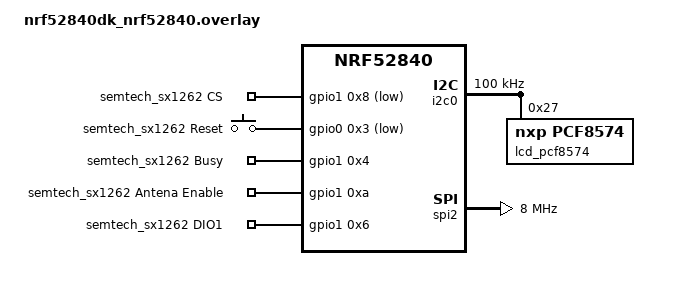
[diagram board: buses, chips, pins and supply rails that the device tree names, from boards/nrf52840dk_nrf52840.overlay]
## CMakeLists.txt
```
#
# Copyright (c) 2022 Nordic Semiconductor ASA
#
# SPDX-License-Identifier: LicenseRef-Nordic-5-Clause
#

cmake_minimum_required(VERSION 3.20.0)

include($ENV{ZEPHYR_BASE}/../sidewalk/samples/common/bootloader_version.cmake)

set(mcuboot_KCONFIG_ROOT $ENV{ZEPHYR_BASE}/../sidewalk/samples/template_subghz/child_image/mcuboot/Kconfig.root)

find_package(Zephyr REQUIRED HINTS $ENV{ZEPHYR_BASE})
project(sidewalk_template_subghz)

zephyr_include_directories(include)

target_sources(app PRIVATE
  src/main.c
  src/lcd.c
  src/application_thread.c
  src/board_events.c
  src/sidewalk_callbacks.c
)
```

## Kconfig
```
#
# Copyright (c) 2022 Nordic Semiconductor ASA
#
# SPDX-License-Identifier: LicenseRef-Nordic-5-Clause
#

rsource "${ZEPHYR_BASE}/../sidewalk/samples/common/Kconfig.defconfig"

source "Kconfig.zephyr"
```

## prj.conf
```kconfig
#
# Copyright (c) 2022 Nordic Semiconductor ASA
#
# SPDX-License-Identifier: LicenseRef-Nordic-5-Clause
#

# LCD1602
CONFIG_I2C=y

# Sidewalk
CONFIG_SIDEWALK=y
CONFIG_SIDEWALK_LINK_MASK_LORA=y

# Logs
CONFIG_SIDEWALK_LOG_LEVEL_INF=y
CONFIG_NVS_LOG_LEVEL_WRN=y
CONFIG_LOG_PRINTK=y

# Buttons and LEDs
CONFIG_GPIO=y
CONFIG_DK_LIBRARY=y

# Bluetooth
CONFIG_BT_DEVICE_NAME="Sid template"

# Debug
CONFIG_RESET_ON_FATAL_ERROR=n
```

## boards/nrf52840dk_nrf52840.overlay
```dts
/*
 * Copyright (c) 2022 Nordic Semiconductor ASA
 *
 * SPDX-License-Identifier: LicenseRef-Nordic-5-Clause
 */

&i2c0 {
    status = "okay";
    clock-frequency = <I2C_BITRATE_STANDARD>;
    lcd_pcf8574: pcf8574@27 {
        compatible = "nxp,pcf8574";
        reg = <0x27>;
        gpio-controller;
        #gpio-cells = <2>;
        ngpios = <8>;
    };

};

&spi3 {
	status = "disabled";
};

sid_semtech: &spi2 {
	compatible = "nordic,nrf-spim";
	status = "okay";
	pinctrl-0 = <&spi2_default>;
	pinctrl-1 = <&spi2_sleep>;
	pinctrl-names = "default", "sleep";
	clock-frequency = <DT_FREQ_M(8)>;
};

&spi2_default {
	group1 {
		psels = <NRF_PSEL(SPIM_SCK, 1, 15)>,
			<NRF_PSEL(SPIM_MISO, 1, 14)>,
			<NRF_PSEL(SPIM_MOSI, 1, 13)>;
	};
};

&spi2_sleep {
	group1 {
		psels = <NRF_PSEL(SPIM_SCK, 1, 15)>,
			<NRF_PSEL(SPIM_MISO, 1, 14)>,
			<NRF_PSEL(SPIM_MOSI, 1, 13)>;
		low-power-enable;
	};
};

/ {
	semtech_sx1262_gpios{
 		compatible = "gpio-keys";
		semtech_sx1262_cs: cs {
			gpios = <&gpio1 0x8 GPIO_ACTIVE_LOW>;
			label = "semtech_sx1262 CS";
		};
 		semtech_sx1262_reset_gpios: reset {
			gpios = <&gpio0 0x3 GPIO_ACTIVE_LOW>;
			label = "semtech_sx1262 Reset";
		};
		semtech_sx1262_busy_gpios: busy {
			gpios = <&gpio1 0x4 GPIO_ACTIVE_HIGH>;
			label = "semtech_sx1262 Busy";
		};
		semtech_sx1262_antenna_enable_gpios: antena_enable {
			gpios = <&gpio1 0xa GPIO_ACTIVE_HIGH>;
			label = "semtech_sx1262 Antena Enable";
		};
		semtech_sx1262_dio1_gpios: dio1 {
			gpios = <&gpio1 0x6 GPIO_ACTIVE_HIGH>;
			label = "semtech_sx1262 DIO1";
		};
 	};

	chosen {
		nordic,pm-ext-flash = &mx25r64;
	};
};
```

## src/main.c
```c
/*
 * Copyright (c) 2023 Nordic Semiconductor ASA
 *
 * SPDX-License-Identifier: LicenseRef-Nordic-5-Clause
 */

#include <sid_api.h>
#include <sid_error.h>
#include <sid_pal_assert_ifc.h>
#include <app_ble_config.h>
#include <app_subGHz_config.h>

#include <stdbool.h>
#include <zephyr/kernel.h>
#include <zephyr/logging/log.h>
#include <dk_buttons_and_leds.h>
#include <sidewalk_version.h>
#if defined(CONFIG_BOOTLOADER_MCUBOOT)
#include <zephyr/dfu/mcuboot.h>
#endif
#if defined(CONFIG_SIDEWALK_DFU_SERVICE_USB)
#include <zephyr/usb/usb_device.h>
#endif
#if defined(CONFIG_GPIO)
#include <state_notifier_gpio_backend.h>
#endif
#if defined(CONFIG_LOG)
#include <state_notifier_log_backend.h>
#endif

#include <pal_init.h>
#include <buttons.h>
#include <lcd.h>
#include <application_thread.h>
#include <sidewalk_callbacks.h>

LOG_MODULE_REGISTER(main, CONFIG_SIDEWALK_LOG_LEVEL);

static app_ctx_t app_context;

static void button_handler(uint32_t event)
{
	app_event_send((app_event_t) event);
}

static sid_error_t app_buttons_init(btn_handler_t handler)
{
    button_set_action_short_press(DK_BTN1, handler, BUTTON_EVENT_FSK_MODE);
	button_set_action_long_press(DK_BTN1, handler, BUTTON_EVENT_FACTORY_RESET);
	button_set_action_short_press(DK_BTN2, handler, BUTTON_EVENT_GET_DEVICE_PROFILE);
	button_set_action_long_press(DK_BTN2, handler, BUTTON_EVENT_SET_DEVICE_PROFILE);
	button_set_action_short_press(DK_BTN3, handler, BUTTON_EVENT_SEND_HELLO);
    button_set_action_short_press(DK_BTN4, handler, BUTTON_EVENT_LORA_MODE);
	#if defined(CONFIG_SIDEWALK_DFU)
	button_set_action_long_press(DK_BTN4, handler, BUTTON_EVENT_NORDIC_DFU);
	#endif

	return buttons_init() ? SID_ERROR_GENERIC : SID_ERROR_NONE;
}

static void app_setup(void)
{
	if (app_buttons_init(button_handler)) {
		LOG_ERR("Failed to initialze buttons.");
		SID_PAL_ASSERT(false);
	}

	if (dk_leds_init()) {
		LOG_ERR("Failed to initialze LEDs.");
		SID_PAL_ASSERT(false);
	}
    if (lcd_init()) {
		LOG_ERR("Failed to initialze LCD.");
		SID_PAL_ASSERT(false);
    }
	#if defined(CONFIG_GPIO)
	state_watch_init_gpio(&global_state_notifier);
	#endif
	#if defined(CONFIG_LOG)
	state_watch_init_log(&global_state_notifier);
	#endif

	#if defined(CONFIG_SIDEWALK_DFU_SERVICE_USB)
	if (usb_enable(NULL)) {
		LOG_ERR("Failed to enable USB");
		return;
	}
	#endif

	if (sidewalk_callbacks_set(&app_context, &app_context.event_callbacks)) {
		LOG_ERR("Failed to set sidewalk callbacks");
		SID_PAL_ASSERT(false);
	}

	app_context.config = (struct sid_config) {
		.link_mask = BUILT_IN_LM,
		.time_sync_periodicity_seconds = 7200,
		.callbacks = &app_context.event_callbacks,
		.link_config = app_get_ble_config(),
		.sub_ghz_link_config = app_get_sub_ghz_config(),
	};

	#if defined(CONFIG_BOOTLOADER_MCUBOOT)
	if (!boot_is_img_confirmed()) {
		int ret = boot_write_img_confirmed();

		if (ret) {
			LOG_ERR("Couldn't confirm image: %d", ret);
		} else {
			LOG_INF("Marked image as OK");
		}
	}
	#endif

       lcd_display_string("reset           ", 1, 0);
}

void main()
{
	PRINT_SIDEWALK_VERSION();

	app_setup();
	if (app_thread_init(&app_context)) {
		LOG_ERR("Failed to start Sidewalk thread");
	}
}
```

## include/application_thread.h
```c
/*
 * Copyright (c) 2023 Nordic Semiconductor ASA
 *
 * SPDX-License-Identifier: LicenseRef-Nordic-5-Clause
 */

#ifndef APPLICATION_THREAD_H
#define APPLICATION_THREAD_H

#include <sid_api.h>

#ifdef CONFIG_SIDEWALK_LINK_MASK_BLE
#define BUILT_IN_LM             (uint32_t)(SID_LINK_TYPE_1)
#elif  CONFIG_SIDEWALK_LINK_MASK_FSK
#define BUILT_IN_LM             (uint32_t)(SID_LINK_TYPE_2)
#elif CONFIG_SIDEWALK_LINK_MASK_LORA
#define BUILT_IN_LM             (uint32_t)(SID_LINK_TYPE_3)
#else
#error "Not defined Sidewalk link mask!!"
#endif

typedef struct application_context {
	struct sid_event_callbacks event_callbacks;
	struct sid_config config;
	struct sid_handle *handle;
	bool connection_request;
} app_ctx_t;

typedef enum application_events {
	SIDEWALK_EVENT,

	BUTTON_EVENT_SEND_HELLO,
	BUTTON_EVENT_SET_BATTERY_LEVEL,
	BUTTON_EVENT_FACTORY_RESET,
    BUTTON_EVENT_FSK_MODE,
    BUTTON_EVENT_LORA_MODE,
	BUTTON_EVENT_GET_DEVICE_PROFILE,
	BUTTON_EVENT_SET_DEVICE_PROFILE,
	#if  defined(CONFIG_SIDEWALK_DFU)
	BUTTON_EVENT_NORDIC_DFU,
	#endif
    EVENT_TO_FSK,
    EVENT_TO_LORA,
} app_event_t;

/**
 * @brief Send Event to application thread
 *
 * @param event event to send
 */
void app_event_send(app_event_t event);

/**
 * @brief Initialize and start application thread
 *
 * @param ctx application context
 *
 * @return SID_ERROR_NULL_POINTER in case of invalid ctx
 */
sid_error_t app_thread_init(app_ctx_t *ctx);

#endif /* APPLICATION_THREAD_H */
```

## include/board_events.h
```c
/*
 * Copyright (c) 2023 Nordic Semiconductor ASA
 *
 * SPDX-License-Identifier: LicenseRef-Nordic-5-Clause
 */

#ifndef BOARD_EVENTS_H
#define BOARD_EVENTS_H

#include <application_thread.h>

/**
 * @brief Application handler for sending hello message
 *
 * @param application_ctx
 */
void button_event_send_hello(app_ctx_t *application_ctx);

/**
 * @brief Application handler for sending battery level
 *
 * @param application_ctx
 */
void button_event_set_battery(app_ctx_t *application_ctx);

/**
 * @brief Application handler for entering in DFU mode
 *
 * @param application_ctx
 */
void button_event_DFU(app_ctx_t *application_ctx);

/**
 * @brief Applicaiton handler for requesting factory reset
 *
 * @param application_ctx
 */
void button_event_factory_reset(app_ctx_t *application_ctx);

/**
 * @brief Application handler for reading profile
 *
 * @param application_ctx
 */
void button_event_get_profile(app_ctx_t *application_ctx);

/**
 * @brief Application handler for setting profile
 *
 * @param application_ctx
 */
void button_event_set_ptofile(app_ctx_t *application_ctx);

void button_event_fsk_mode(app_ctx_t *application_ctx);
void button_event_lora_mode(app_ctx_t *application_ctx);

#endif /* BOARD_EVENTS_H */
```

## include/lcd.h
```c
int lcd_init(void);
void lcd_display_string(const char* str, uint8_t line, uint8_t pos);
```

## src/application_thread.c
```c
/*
 * Copyright (c) 2023 Nordic Semiconductor ASA
 *
 * SPDX-License-Identifier: LicenseRef-Nordic-5-Clause
 */
#include <sid_api.h>
#include <sid_error.h>

#include <zephyr/kernel.h>
#include <zephyr/logging/log.h>

#include <board_events.h>
#include <pal_init.h>
#if defined(CONFIG_SIDEWALK_CLI)
#include <sid_shell.h>
#endif

#include <application_thread.h>
#include <state_notifier.h>

static struct k_thread application_thread;

K_THREAD_STACK_DEFINE(application_thread_stack, CONFIG_SIDEWALK_THREAD_STACK_SIZE);
K_MSGQ_DEFINE(application_thread_msgq, sizeof(app_event_t), CONFIG_SIDEWALK_THREAD_QUEUE_SIZE, 4);

LOG_MODULE_REGISTER(application, CONFIG_SIDEWALK_LOG_LEVEL);

static int app_start_sid(app_ctx_t *app_ctx)
{
    sid_error_t err = sid_start(app_ctx->handle, app_ctx->config.link_mask);
    if (err) {
        LOG_ERR("Unknown error during sidewalk start! %d", err);
        application_state_error(&global_state_notifier, true);
        return -1;
    }

    return 0;
}

static int app_init_sid(app_ctx_t *app_ctx)
{
    sid_error_t err = sid_init(&app_ctx->config, &app_ctx->handle);

    switch (err) {
    case SID_ERROR_NONE: break;
    case SID_ERROR_ALREADY_INITIALIZED: LOG_WRN("Sidewalk already initialized!"); break;
    default: LOG_ERR("Unknown error during sidewalk initialization!");
        application_state_error(&global_state_notifier, true);
        return -1;
    }
    return 0;
}

static void sidewalk_app_entry(void *ctx, void *unused, void *unused2)
{
	ARG_UNUSED(unused);
	ARG_UNUSED(unused2);
	app_ctx_t *application_ctx = (app_ctx_t *)ctx;

	if (application_pal_init()) {
		LOG_ERR("Failed to initialze PAL layer for sidewalk applicaiton.");
		application_state_error(&global_state_notifier, true);
		return;
	}

	sid_error_t err = sid_init(&application_ctx->config, &application_ctx->handle);

	switch (err) {
	case SID_ERROR_NONE: break;
	case SID_ERROR_ALREADY_INITIALIZED: LOG_WRN("Sidewalk already initialized!"); break;
	default: LOG_ERR("Unknown error during sidewalk initialization!");
		application_state_error(&global_state_notifier, true);
		return;
	}

	err = sid_start(application_ctx->handle, BUILT_IN_LM);
	if (err) {
		LOG_ERR("Unknown error during sidewalk start!");
		application_state_error(&global_state_notifier, true);
		return;
	}
#if defined(CONFIG_SIDEWALK_CLI)
	CLI_init(application_ctx->handle);
#endif
	application_state_connected(&global_state_notifier, false);
	application_state_working(&global_state_notifier, true);
	while (true) {
		app_event_t event = SIDEWALK_EVENT;

		if (!k_msgq_get(&application_thread_msgq, &event, K_FOREVER)) {
			switch (event) {
			case SIDEWALK_EVENT: err = sid_process(application_ctx->handle); if (err) {
					LOG_WRN("sid_process returned %d", err);
			}
				break;
			case BUTTON_EVENT_SEND_HELLO: button_event_send_hello(application_ctx); break;
			case BUTTON_EVENT_SET_BATTERY_LEVEL: button_event_set_battery(application_ctx); break;
            case BUTTON_EVENT_FSK_MODE: button_event_fsk_mode(application_ctx); break;
            case BUTTON_EVENT_LORA_MODE: button_event_lora_mode(application_ctx); break;
			case BUTTON_EVENT_FACTORY_RESET: button_event_factory_reset(application_ctx); break;
			case BUTTON_EVENT_GET_DEVICE_PROFILE: button_event_get_profile(application_ctx); break;
			case BUTTON_EVENT_SET_DEVICE_PROFILE: button_event_set_ptofile(application_ctx); break;

			#if defined(CONFIG_SIDEWALK_DFU)
			case BUTTON_EVENT_NORDIC_DFU: button_event_DFU(application_ctx); break;
			#endif
            case EVENT_TO_FSK:
                LOG_INF("EVENT_TO_FSK");
                application_ctx->config.link_mask = SID_LINK_TYPE_2;
                if (app_init_sid(application_ctx) == 0) {
                    app_start_sid(application_ctx);
                }
                break;
            case EVENT_TO_LORA:
                LOG_INF("EVENT_TO_LORA");
                application_ctx->config.link_mask = SID_LINK_TYPE_3;
                if (app_init_sid(application_ctx) == 0) {
                    app_start_sid(application_ctx);
                }
                break;
			default:
				LOG_ERR("Invalid Event received!");
			}
		}
	}
	application_state_working(&global_state_notifier, false);
}

void app_event_send(app_event_t event)
{
	int ret = k_msgq_put(&application_thread_msgq, (void *)&event, k_is_in_isr() ? K_NO_WAIT : K_FOREVER);

	if (ret) {
		LOG_ERR("Failed to send event to application thread. err: %d", ret);
	}
}

sid_error_t app_thread_init(app_ctx_t *ctx)
{
	if (!ctx) {
		return SID_ERROR_NULL_POINTER;
	}
	(void)k_thread_create(&application_thread, application_thread_stack,
			      K_THREAD_STACK_SIZEOF(application_thread_stack),
			      sidewalk_app_entry, ctx, NULL, NULL,
			      CONFIG_SIDEWALK_THREAD_PRIORITY, 0, K_NO_WAIT);
	k_thread_name_set(&application_thread, "sidewalk_thread");
	return SID_ERROR_NONE;
}
```

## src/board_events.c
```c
/*
 * Copyright (c) 2023 Nordic Semiconductor ASA
 *
 * SPDX-License-Identifier: LicenseRef-Nordic-5-Clause
 */

#include <sid_api.h>
#include <sid_error.h>
#include <sid_900_cfg.h>

#include <state_notifier.h>
#include <board_events.h>

#if defined(CONFIG_SIDEWALK_DFU)
#include <nordic_dfu.h>
#endif

#include <lcd.h>
#include <zephyr/logging/log.h>

LOG_MODULE_REGISTER(board_events, CONFIG_SIDEWALK_LOG_LEVEL);

#if defined(CONFIG_SIDEWALK_LINK_MASK_FSK)
static struct sid_device_profile profile_light = {
	.unicast_params.device_profile_id = SID_LINK2_PROFILE_1,
	.unicast_params.rx_window_count = SID_RX_WINDOW_CNT_INFINITE,
	.unicast_params.unicast_window_interval.sync_rx_interval_ms = SID_LINK2_RX_WINDOW_SEPARATION_3,
	.unicast_params.wakeup_type = SID_TX_AND_RX_WAKEUP,
};

static struct sid_device_profile profile_fast = {
	.unicast_params.device_profile_id = SID_LINK2_PROFILE_2,
	.unicast_params.rx_window_count = SID_RX_WINDOW_CNT_INFINITE,
	.unicast_params.unicast_window_interval.sync_rx_interval_ms = SID_LINK2_RX_WINDOW_SEPARATION_3,
	.unicast_params.wakeup_type = SID_TX_AND_RX_WAKEUP,
};

static struct sid_device_profile profile_from_dev = {
	.unicast_params.device_profile_id = SID_LINK2_PROFILE_1
};
#elif defined(CONFIG_SIDEWALK_LINK_MASK_LORA)
static struct sid_device_profile profile_light = {
	.unicast_params.device_profile_id = SID_LINK3_PROFILE_A,
	.unicast_params.rx_window_count =  SID_RX_WINDOW_CNT_2,
	.unicast_params.unicast_window_interval.async_rx_interval_ms = SID_LINK3_RX_WINDOW_SEPARATION_3,
	.unicast_params.wakeup_type = SID_TX_AND_RX_WAKEUP,
};

static struct sid_device_profile profile_fast = {
	.unicast_params.device_profile_id = SID_LINK3_PROFILE_B,
	.unicast_params.rx_window_count = SID_RX_WINDOW_CNT_INFINITE,
	.unicast_params.unicast_window_interval.async_rx_interval_ms = SID_LINK3_RX_WINDOW_SEPARATION_3,
	.unicast_params.wakeup_type = SID_TX_AND_RX_WAKEUP,
};

static struct sid_device_profile profile_from_dev = {
	.unicast_params.device_profile_id = SID_LINK3_PROFILE_A
};
#endif

void button_event_send_hello(app_ctx_t *application_ctx)
{
	struct sid_status status = { .state = SID_STATE_NOT_READY };
	sid_error_t err;

	static uint8_t counter = 0;
	static struct sid_msg msg;
	static struct sid_msg_desc desc;

	err = sid_get_status(application_ctx->handle, &status);
	switch (err) {
	case SID_ERROR_NONE: break;
	case SID_ERROR_INVALID_ARGS: LOG_ERR("Sidewalk library is not initialzied!"); return;
	default: LOG_ERR("Unknown error during sid_get_status() -> %d", err);
		return;
	}

	if (status.state != SID_STATE_READY && status.state != SID_STATE_SECURE_CHANNEL_READY) {
		LOG_ERR(
			"Sidewalk Status is invalid!, expected SID_STATE_READY or SID_STATE_SECURE_CHANNEL_READY, got %d",
			status.state);
		return;
	}

	msg = (struct sid_msg){ .data = (uint8_t *)&counter, .size = sizeof(uint8_t) };
	desc = (struct sid_msg_desc){
		.type = SID_MSG_TYPE_NOTIFY,
		.link_type = SID_LINK_TYPE_ANY,
		.link_mode = SID_LINK_MODE_CLOUD,
	};

    desc.msg_desc_attr.tx_attr.request_ack = 1;
    desc.msg_desc_attr.tx_attr.num_retries = 1;
    desc.msg_desc_attr.tx_attr.ttl_in_seconds = 30;

	err = sid_put_msg(application_ctx->handle, &msg, &desc);
	switch (err) {
	case SID_ERROR_NONE: {
		application_state_sending(&global_state_notifier, true);
		counter++;
		LOG_INF("queued data message id:%d", desc.id);
        lcd_display_string("    sending     ", 1, 0);
		break;
	}
	case SID_ERROR_TRY_AGAIN: {
		LOG_ERR("there is no space in the transmit queue, Try again.");
		break;
	}
	default: LOG_ERR("Unknown error returned from sid_put_msg() -> %d", err);
	}
}

void button_event_set_battery(app_ctx_t *application_ctx)
{
	static uint8_t fake_bat_lev = 70;

	++fake_bat_lev;
	if (fake_bat_lev > 100) {
		fake_bat_lev = 0;
	}
	sid_error_t ret = sid_option(application_ctx->handle, SID_OPTION_BLE_BATTERY_LEVEL,
				     &fake_bat_lev, sizeof(fake_bat_lev));

	if (SID_ERROR_NONE != ret) {
		LOG_ERR("failed setting Sidewalk option!");
	} else {
		LOG_DBG("set battery level to %d", fake_bat_lev);
	}
}

#if defined(CONFIG_SIDEWALK_DFU)
void button_event_DFU(app_ctx_t *application_ctx)
{
	sid_error_t err = sid_deinit(application_ctx->handle);

	if (err != SID_ERROR_NONE) {
		LOG_ERR("Failed to deinitialize sidewalk! sid_deinit returned %d", err);
		return;
	}

	application_ctx->handle = NULL;

	int ret = nordic_dfu_ble_start();

	if (ret) {
		LOG_ERR("DFU SMP start error (code %d)", ret);
	}
	application_state_dfu(&global_state_notifier, true);
}

#endif

void button_event_lora_mode(app_ctx_t *application_ctx)
{
    if (application_ctx->config.link_mask == SID_LINK_TYPE_3) {
        LOG_INF("already in LoRa");
        return;
    }

    sid_error_t err = sid_deinit(application_ctx->handle);

    if (err != SID_ERROR_NONE) {
        LOG_ERR("Failed to deinitialize sidewalk! sid_deinit returned %d", err);
    } else {
        LOG_INF("to_lora sid_deinit ok");
        app_event_send(EVENT_TO_LORA);
    }
}

void button_event_fsk_mode(app_ctx_t *application_ctx)
{
    if (application_ctx->config.link_mask == SID_LINK_TYPE_2) {
        LOG_INF("already in FSK");
        return;
    }

    sid_error_t err = sid_deinit(application_ctx->handle);

    if (err != SID_ERROR_NONE) {
        LOG_ERR("Failed to deinitialize sidewalk! sid_deinit returned %d", err);
    } else {
        LOG_INF("to_fsk sid_deinit ok");
        app_event_send(EVENT_TO_FSK);
    }
}

void button_event_factory_reset(app_ctx_t *application_ctx)
{
	sid_error_t ret = sid_set_factory_reset(application_ctx->handle);

	if (SID_ERROR_NONE != ret) {
		LOG_ERR("Notification of factory reset to sid api failed!");
	} else {
		LOG_DBG("Wait for Sid api to notify to proceed with factory reset!");
	}
}

void button_event_get_profile(app_ctx_t *application_ctx)
{
	sid_error_t ret = sid_option(application_ctx->handle, SID_OPTION_900MHZ_GET_DEVICE_PROFILE,
				     &profile_from_dev, sizeof(profile_from_dev));

	if (ret) {
		LOG_ERR("Profile get failed (err %d)", ret);
		return;
	}

	LOG_INF("\n"			   \
		"Profile id 0x%x\n"	   \
		"Profile dl count %d\n"	   \
		"Profile dl interval %d\n" \
		"Profile wakeup %d\n",
		profile_from_dev.unicast_params.device_profile_id,
		profile_from_dev.unicast_params.rx_window_count,
		profile_from_dev.unicast_params.unicast_window_interval.async_rx_interval_ms,
		profile_from_dev.unicast_params.wakeup_type);
}

void button_event_set_ptofile(app_ctx_t *application_ctx)
{
	static struct sid_device_profile *new_profile = &profile_light;

	LOG_INF("Profile set %s", (&profile_light == new_profile) ? "light" : "fast");

	sid_error_t ret = sid_option(application_ctx->handle, SID_OPTION_900MHZ_SET_DEVICE_PROFILE, new_profile,
				     sizeof(*new_profile));

	if (!ret) {
		new_profile = (&profile_light == new_profile) ? &profile_fast : &profile_light;
		LOG_INF("Profile set success.");
	} else {
		LOG_ERR("Profile set failed (err %d)", ret);
	}
}
```

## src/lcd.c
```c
#include <zephyr/kernel.h>
#include <zephyr/device.h>
#include <zephyr/logging/log.h>
#include <zephyr/drivers/gpio.h>

#include <lcd.h>

// commands
#define LCD_CLEARDISPLAY   0x01
#define LCD_RETURNHOME   0x02
#define LCD_ENTRYMODESET   0x04
#define LCD_DISPLAYCONTROL   0x08
#define LCD_CURSORSHIFT   0x10
#define LCD_FUNCTIONSET   0x20
#define LCD_SETCGRAMADDR   0x40
#define LCD_SETDDRAMADDR   0x80

// flags for function set
#define LCD_8BITMODE   0x10
#define LCD_4BITMODE   0x00
#define LCD_2LINE   0x08
#define LCD_1LINE   0x00
#define LCD_5x10DOTS   0x04
#define LCD_5x8DOTS   0x00

// flags for display on/off control
#define LCD_DISPLAYON   0x04
#define LCD_DISPLAYOFF   0x00
#define LCD_CURSORON   0x02
#define LCD_CURSOROFF   0x00
#define LCD_BLINKON   0x01
#define LCD_BLINKOFF   0x00

// flags for display entry mode
#define LCD_ENTRYRIGHT   0x00
#define LCD_ENTRYLEFT   0x02
#define LCD_ENTRYSHIFTINCREMENT   0x01
#define LCD_ENTRYSHIFTDECREMENT . 0x00

// flags for backlight control
#define LCD_BACKLIGHT       0x08
#define LCD_NOBACKLIGHT     0x00

LOG_MODULE_REGISTER(lcd, CONFIG_SIDEWALK_LOG_LEVEL);

const struct device *const lcd_dev = DEVICE_DT_GET_ONE(nxp_pcf8574);

#define LCD_BIT_RS      0x01    /* register select bit */
#define LCD_BIT_RW      0x02    /* read / write bit */
#define LCD_BIT_En      0x04    /* enable bit */

void lcd_strobe(uint8_t data)
{
    gpio_port_set_masked(lcd_dev, 0xff, data | LCD_BIT_En | LCD_BACKLIGHT);
    k_sleep(K_MSEC(5));
    gpio_port_set_masked(lcd_dev, 0xff, (data & ~LCD_BIT_En) | LCD_BACKLIGHT);
    k_sleep(K_MSEC(1));
}

void lcd_write_four_bits(uint8_t data)
{
    gpio_port_set_masked(lcd_dev, 0xff, data | LCD_BACKLIGHT);
    lcd_strobe(data);
}

void lcd_write_Rs(uint8_t cmd)
{
    uint8_t mode = LCD_BIT_RS;
    lcd_write_four_bits(mode | (cmd & 0xf0));
    lcd_write_four_bits(mode | ((cmd << 4) & 0xf0));
}

void lcd_write(uint8_t cmd)
{
    uint8_t mode = 0;
    lcd_write_four_bits(mode | (cmd & 0xf0));
    lcd_write_four_bits(mode | ((cmd << 4) & 0xf0));
}

void lcd_display_string(const char* str, uint8_t line, uint8_t pos)
{
    uint8_t pos_new = pos;
    switch (line) {
        case 2: pos_new = 0x40 + pos; break;
        case 3: pos_new = 0x14 + pos; break;
        case 4: pos_new = 0x54 + pos; break;
    }

    lcd_write(0x80 + pos_new);

    while (*str != 0) {
        lcd_write_Rs(*str);
        str++;
    }
}

int lcd_init()
{
    if (!device_is_ready(lcd_dev)) {
        LOG_ERR("LCD: device not ready.");
        return -1;
    }

    LOG_INF("LCD device is %p, name is %s", lcd_dev, lcd_dev->name);
    int ret;
    for (int i = 0; i < 8; i++) {
        ret = gpio_pin_configure(lcd_dev, i, GPIO_OUTPUT | GPIO_OUTPUT_INIT_LOW);
        if (ret) {
            LOG_ERR("Error in configure pin %d on lcd_dev: %d", i, ret);
            return ret;
        }
    }

    lcd_write(0x03);
    lcd_write(0x03);
    lcd_write(0x02);

    lcd_write(LCD_FUNCTIONSET | LCD_2LINE | LCD_5x8DOTS | LCD_4BITMODE);
    lcd_write(LCD_DISPLAYCONTROL | LCD_DISPLAYON);
    lcd_write(LCD_CLEARDISPLAY);
    lcd_write(LCD_ENTRYMODESET | LCD_ENTRYLEFT);
    
    return 0;
}
```

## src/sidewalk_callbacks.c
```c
/*
 * Copyright (c) 2023 Nordic Semiconductor ASA
 *
 * SPDX-License-Identifier: LicenseRef-Nordic-5-Clause
 */

#include <stdio.h>
#include <sid_api.h>
#include <sid_error.h>
#include <sid_hal_reset_ifc.h>

#include <state_notifier.h>
#if defined(CONFIG_SIDEWALK_CLI)
#include <sid_shell.h>
#endif

#include <application_thread.h>
#include <lcd.h>

#include <zephyr/logging/log.h>

LOG_MODULE_REGISTER(callbacks, CONFIG_SIDEWALK_LOG_LEVEL);

static const uint8_t *status_name[] = {
	"ready", "not ready", "Error", "secure channel ready"
};

static const uint8_t *link_mode_idx_name[] = {
	"ble", "fsk", "lora"
};

static void on_sidewalk_event(bool in_isr, void *context)
{
	LOG_DBG("on event, from %s, context %p", in_isr ? "ISR" : "App", context);
	app_event_send(SIDEWALK_EVENT);
}

static void on_sidewalk_msg_received(const struct sid_msg_desc *msg_desc, const struct sid_msg *msg, void *context)
{
    char lcd_str[17];
	#ifdef CONFIG_SIDEWALK_CLI
	CLI_register_message_received(msg_desc->id);
	#endif
	application_state_receiving(&global_state_notifier, true);
	application_state_receiving(&global_state_notifier, false);
	LOG_INF("received message(type: %d, link_mode: %d, id: %u size %u) rssi:%d snr:%d", (int)msg_desc->type,
		(int)msg_desc->link_mode, msg_desc->id, msg->size,
        msg_desc->msg_desc_attr.rx_attr.rssi,
        msg_desc->msg_desc_attr.rx_attr.snr);
	LOG_HEXDUMP_INF((uint8_t *)msg->data, msg->size, "Message data: ");

    if (msg_desc->link_type == SID_LINK_TYPE_2) {
        sprintf(lcd_str, "%ddBm       ", msg_desc->msg_desc_attr.rx_attr.rssi);
    } else if (msg_desc->link_type >= SID_LINK_TYPE_3) {
        sprintf(lcd_str, "%ddBm snr:%d", 
            msg_desc->msg_desc_attr.rx_attr.rssi,
            msg_desc->msg_desc_attr.rx_attr.snr
        );
    }
    lcd_display_string(lcd_str, 1, 0);
}

static void on_sidewalk_msg_sent(const struct sid_msg_desc *msg_desc, void *context)
{
	application_state_sending(&global_state_notifier, false);
	#ifdef CONFIG_SIDEWALK_CLI
	CLI_register_message_send();
	#endif
	LOG_INF("sent message(type: %d, id: %u)", (int)msg_desc->type, msg_desc->id);
    lcd_display_string("                ", 1, 0);   // clear "sending"
}

static void on_sidewalk_send_error(sid_error_t error, const struct sid_msg_desc *msg_desc, void *context)
{
    char lcd_str[17];
	application_state_sending(&global_state_notifier, false);
	#ifdef CONFIG_SIDEWALK_CLI
	CLI_register_message_not_send();
	#endif
	LOG_ERR("failed to send message(type: %d, id: %u), err:%d", (int)msg_desc->type, msg_desc->id, (int)error);

    if (error == SID_ERROR_TIMEOUT)
        strcpy(lcd_str, "  timeout     ");
    else if (error == SID_ERROR_GENERIC)
        strcpy(lcd_str, " ERROR_GENERIC  ");
    else
        sprintf(lcd_str, " sendFAIL %d", error);

    lcd_display_string(lcd_str, 1, 0);
}

static void on_sidewalk_status_changed(const struct sid_status *status, void *context)
{
    char lcd_str[17];
	LOG_INF("status changed: %s", status_name[status->state]);

	app_ctx_t *app_ctx = (app_ctx_t *)context;

#ifdef CONFIG_SIDEWALK_CLI
	CLI_register_sid_status(status);
#endif
	switch (status->state) {
	case SID_STATE_READY:
		application_state_connected(&global_state_notifier, true);
        lcd_display_string("ready", 2, 11);
		break;
	case SID_STATE_NOT_READY:
		application_state_connected(&global_state_notifier, false);
        lcd_display_string("                ", 1, 0);
        lcd_display_string("     ", 2, 11);
		break;
	case SID_STATE_ERROR:
		LOG_ERR("Sidewalk error: %d", (int)sid_get_error(app_ctx->handle));
		break;
	case SID_STATE_SECURE_CHANNEL_READY:
		break;
	}

	application_state_registered(&global_state_notifier,
				     status->detail.registration_status == SID_STATUS_REGISTERED);
	application_state_time_sync(&global_state_notifier, status->detail.time_sync_status == SID_STATUS_TIME_SYNCED);
	application_state_link(&global_state_notifier, !!(status->detail.link_status_mask));

	LOG_INF("Device %sregistered, Time Sync %s, Link status: {BLE: %s, FSK: %s, LoRa: %s}",
		(SID_STATUS_REGISTERED == status->detail.registration_status) ? "Is " : "Un",
		(SID_STATUS_TIME_SYNCED == status->detail.time_sync_status) ? "Success" : "Fail",
		(status->detail.link_status_mask & SID_LINK_TYPE_1) ? "Up" : "Down",
		(status->detail.link_status_mask & SID_LINK_TYPE_2) ? "Up" : "Down",
		(status->detail.link_status_mask & SID_LINK_TYPE_3) ? "Up" : "Down");

    if (status->detail.link_status_mask & SID_LINK_TYPE_2)
        strcpy(lcd_str, "FSK ");
    else if (status->detail.link_status_mask & SID_LINK_TYPE_3)
        strcpy(lcd_str, "LoRa");
    lcd_display_string(lcd_str, 2, 0);

	for (int i = 0; i < SID_LINK_TYPE_MAX_IDX; i++) {
		enum sid_link_mode mode = (enum sid_link_mode)status->detail.supported_link_modes[i];

		if (mode) {
			LOG_INF("Link mode on %s = {Cloud: %s, Mobile: %s}", link_mode_idx_name[i],
				(mode & SID_LINK_MODE_CLOUD) ? "True" : "False",
				(mode & SID_LINK_MODE_MOBILE) ? "True" : "False");
		}
	}
}

static void on_sidewalk_factory_reset(void *context)
{
	ARG_UNUSED(context);

	LOG_INF("factory reset notification received from sid api");
	if (sid_hal_reset(SID_HAL_RESET_NORMAL)) {
		LOG_WRN("Reboot type not supported");
	}
}

sid_error_t sidewalk_callbacks_set(void *context, struct sid_event_callbacks *callbacks)
{
	if (!callbacks) {
		return SID_ERROR_INVALID_ARGS;
	}
	callbacks->context = context;
	callbacks->on_event = on_sidewalk_event;
	callbacks->on_msg_received = on_sidewalk_msg_received;                          /* Called from sid_process() */
	callbacks->on_msg_sent = on_sidewalk_msg_sent;                                  /* Called from sid_process() */
	callbacks->on_send_error = on_sidewalk_send_error;                              /* Called from sid_process() */
	callbacks->on_status_changed = on_sidewalk_status_changed;                      /* Called from sid_process() */
	callbacks->on_factory_reset = on_sidewalk_factory_reset;                        /* Called from sid_process() */

	return SID_ERROR_NONE;
}
```
